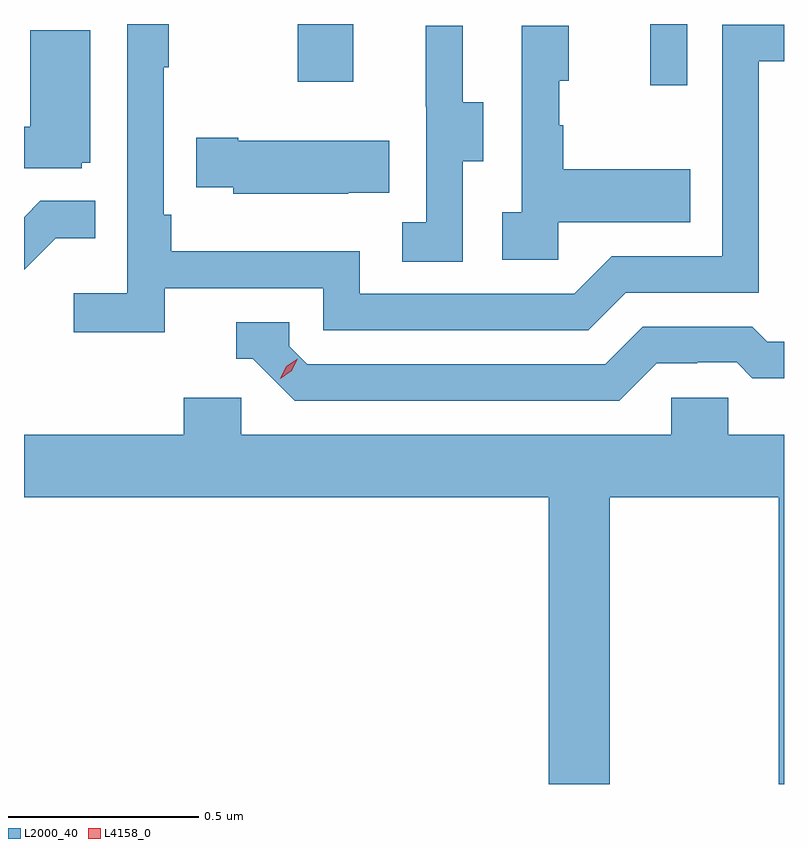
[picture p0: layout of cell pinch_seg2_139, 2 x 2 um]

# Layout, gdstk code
import gdstk
lib = gdstk.Library(unit=1e-6, precision=1e-09)
def R(c, l, rs):  # rectangles x0, y0, x1, y1
    for r in rs: c.add(gdstk.rectangle(r[:2], r[2:], *l))
def P(c, l, *ps):  # polygons
    for p in ps: c.add(gdstk.Polygon(p, *l))
L2000_40 = (2000, 40)
L4158_0 = (4158, 0)

pinch_seg2_139 = lib.new_cell('pinch_seg2_139')
R(pinch_seg2_139, L2000_40, [(1024.34,627.408,1024.437,627.569), (1023.412,627.417,1023.559,627.569)])
P(pinch_seg2_139, L2000_40, [(1023.062,626.874),(1023.48,626.874),(1023.48,626.763),(1024.177,626.763),(1024.276,626.862),(1024.626,626.862),(1024.626,627.471),(1024.692,627.471),(1024.692,627.567),(1024.53,627.567),(1024.53,626.958),(1024.239,626.958),(1024.14,626.859),(1023.576,626.859),(1023.576,626.971),(1023.08,626.971),(1023.08,627.067),(1023.06,627.067),(1023.06,627.455),(1023.073,627.455),(1023.073,627.568),(1022.964,627.568),(1022.964,626.86),(1022.823,626.86),(1022.823,626.758),(1023.062,626.758)],
  [(1023.846,627.208),(1023.901,627.208),(1023.901,627.363),(1023.847,627.363),(1023.847,627.565),(1023.749,627.565),(1023.749,627.351),(1023.75,627.351),(1023.75,627.047),(1023.687,627.047),(1023.687,626.944),(1023.846,626.944)],
  [(1024.098,627.047),(1024.445,627.047),(1024.445,627.187),(1024.111,627.187),(1024.111,627.302),(1024.101,627.302),(1024.101,627.42),(1024.126,627.42),(1024.126,627.565),(1024.002,627.565),(1024.002,627.074),(1023.951,627.074),(1023.951,626.949),(1024.098,626.949)],
  [(1022.844,627.204),(1022.866,627.204),(1022.866,627.553),(1022.708,627.553),(1022.708,627.298),(1022.692,627.298),(1022.692,627.189),(1022.844,627.189)],
  [(1023.545,627.125),(1023.653,627.125),(1023.653,627.262),(1023.256,627.262),(1023.256,627.27),(1023.145,627.27),(1023.145,627.14),(1023.243,627.14),(1023.243,627.122),(1023.545,627.122)],
  [(1022.775,627.005),(1022.879,627.005),(1022.879,627.104),(1022.735,627.104),(1022.692,627.061),(1022.692,626.922)],
  [(1024.357,626.676),(1024.464,626.676),(1024.464,626.679),(1024.567,626.679),(1024.609,626.637),(1024.692,626.637),(1024.692,626.733),(1024.648,626.733),(1024.609,626.772),(1024.32,626.772),(1024.221,626.673),(1023.438,626.673),(1023.39,626.721),(1023.39,626.784),(1023.251,626.784),(1023.251,626.688),(1023.294,626.688),(1023.405,626.577),(1024.258,626.577)],
  [(1024.233,626.324),(1024.678,626.324),(1024.678,625.569),(1024.692,625.569),(1024.692,626.488),(1024.545,626.488),(1024.545,626.586),(1024.395,626.586),(1024.395,626.488),(1023.264,626.488),(1023.264,626.586),(1023.113,626.586),(1023.113,626.488),(1022.692,626.488),(1022.692,626.324),(1024.073,626.324),(1024.073,625.569),(1024.233,625.569)])
P(pinch_seg2_139, L4158_0, [(1023.366,626.636),(1023.366,626.636),(1023.382,626.669),(1023.412,626.688),(1023.412,626.688),(1023.412,626.688),(1023.396,626.656),(1023.366,626.636)])

lib.write_gds('pinch_seg2_139.gds')
